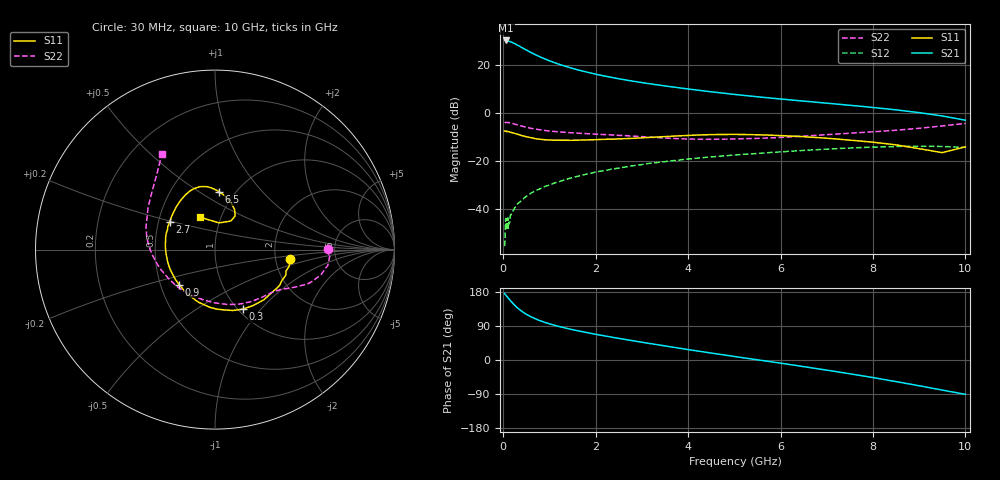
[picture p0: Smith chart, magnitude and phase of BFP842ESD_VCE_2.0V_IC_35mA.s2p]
! Infineon Technologies  Discrete & RF Semiconductors
! BFP842ESD
! VCE =  2.0 V,  IC =  35 mA
! Common Emitter S-Parameters:  May 2012
# GHz  S  MA  R  50
!  f  S11  S21  S12  S22
! GHz  MAG  ANG  MAG  ANG  MAG  ANG  MAG  ANG
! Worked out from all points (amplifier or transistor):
!   99 points, 30 MHz to 10 GHz, reference 50 ohm
!   highest |S21| = 30.3 dB at 60 MHz (marker M1)
!   |S21| within 3 dB of that: start of sweep to 406.5 MHz
!   unconditionally stable (mu >= 1): start of sweep to 279.9 MHz; 711 MHz to end of sweep
!   at 350 MHz: K = 0.97, MSG = 32.5 dB, |S12| = -37.1 dB
!   at 3.5 GHz: K = 1.22, MAG = 12.9 dB, |S12| = -20.2 dB
!   at 10 GHz: K = 2.16, MAG = -0.4 dB, |S12| = -14.3 dB
!   S11 on the Smith chart (normalised r, x): 30 MHz: 2.42, -0.31; 300 MHz: 1.05, -0.80; 900 MHz: 0.62, -0.26; 2.7 GHz: 0.57, +0.19; 6.5 GHz: 0.85, +0.61; 10 GHz: 0.80, +0.30
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0.03  0.4228 -7.2  32.53 175.7  0.0017 38.7  0.6323 0.1
0.05  0.4234 -12.5  32.2 172.3  0.0061 33.1  0.6352 -2.6
0.06  0.4197 -14.1  32.57 170.7  0.0064 83.9  0.6457 -2.9
0.11  0.4101 -26.4  31.77 163.1  0.004 54.6  0.6356 -7.0
0.15  0.3997 -35.0  30.81 157.3  0.0072 63.3  0.6231 -9.9
0.2  0.3904 -45.7  29.42 150.6  0.0088 71.3  0.608 -13.2
0.25  0.3772 -55.7  27.98 144.2  0.0107 62.2  0.5886 -15.5
0.3  0.3657 -65.1  26.27 138.4  0.0127 69.8  0.5725 -17.8
0.35  0.3536 -73.6  24.8 133.3  0.0139 67.1  0.5547 -19.8
0.45  0.3314 -88.8  21.86 124.5  0.017 64.5  0.5208 -22.6
0.6  0.3074 -107.4  18.29 114.1  0.0216 65.5  0.4839 -25.8
0.7  0.2936 -118.0  16.38 108.5  0.0243 63.7  0.4655 -27.5
0.9  0.2788 -135.7  13.44 99.3  0.0297 63.2  0.4355 -30.3
1.2  0.2732 -155.9  10.46 88.7  0.0372 61.4  0.4079 -34.8
1.7  0.275 -179.8  7.578 75.0  0.0507 56.6  0.3779 -43.0
2.7  0.2962 148.7  4.807 53.0  0.0771 46.2  0.337 -63.2
3.4  0.3215 132.2  3.799 39.1  0.0957 37.1  0.3066 -81.0
5.1  0.3598 103.3  2.399 7.5  0.1361 14.2  0.291 -131.5
6.5  0.3233 85.8  1.781 -17.5  0.1672 -6.6  0.3319 -166.2
6.7  0.3141 82.9  1.712 -21.2  0.1719 -9.9  0.341 -170.9
8.5  0.2186 59.1  1.17 -57.0  0.2018 -44.7  0.4405 147.8
10  0.1987 114.9  0.714 -90.6  0.1936 -82.5  0.6112 118.9
